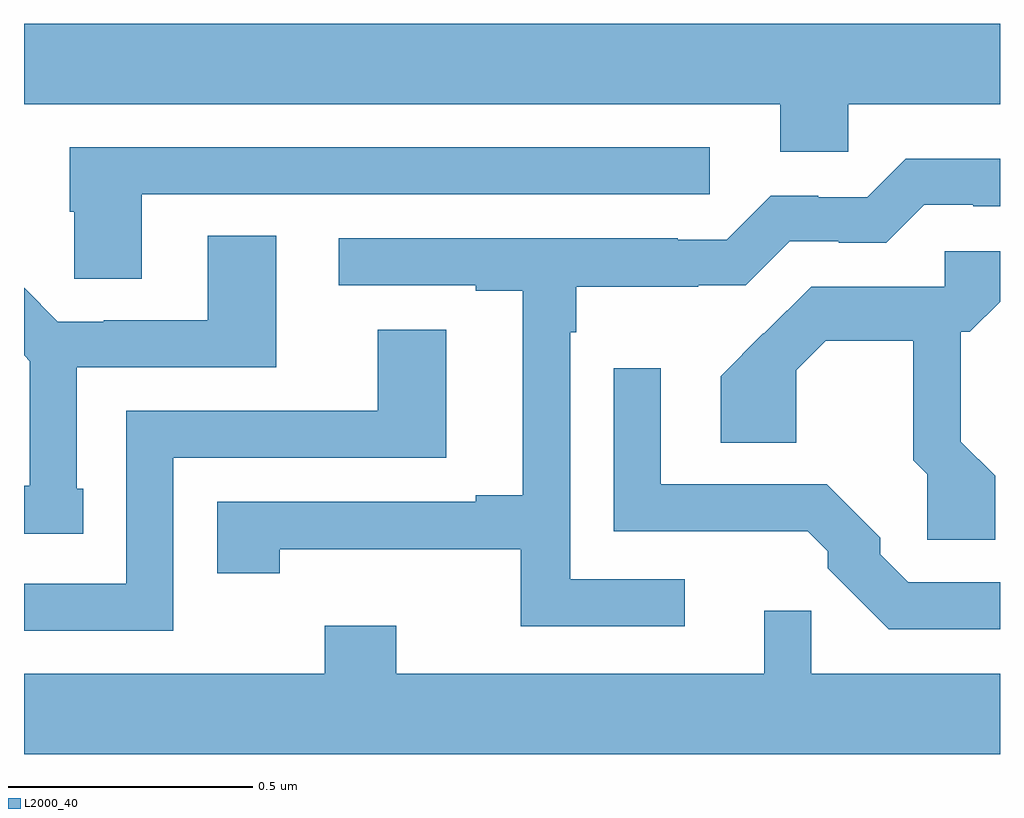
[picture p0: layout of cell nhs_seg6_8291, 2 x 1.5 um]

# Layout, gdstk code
import gdstk
lib = gdstk.Library(unit=1e-6, precision=1e-09)
def P(c, l, *ps):  # polygons
    for p in ps: c.add(gdstk.Polygon(p, *l))
L2000_40 = (2000, 40)

nhs_seg6_8291 = lib.new_cell('nhs_seg6_8291')
P(nhs_seg6_8291, L2000_40, [(219,953.996),(220.55,953.996),(220.55,953.898),(220.689,953.898),(220.689,953.996),(221,953.996),(221,954.16),(219,954.16)],
  [(219.241,953.811),(220.405,953.811),(220.405,953.907),(219.094,953.907),(219.094,953.775),(219.103,953.775),(219.103,953.638),(219.241,953.638)],
  [(220.354,953.022),(220.119,953.022),(220.119,953.528),(220.132,953.528),(220.132,953.622),(220.382,953.622),(220.382,953.625),(220.479,953.625),(220.569,953.715),(220.67,953.715),(220.67,953.712),(220.767,953.712),(220.845,953.79),(220.945,953.79),(220.945,953.787),(221,953.787),(221,953.884),(220.807,953.884),(220.728,953.805),(220.628,953.805),(220.628,953.808),(220.53,953.808),(220.44,953.718),(220.34,953.718),(220.34,953.721),(219.645,953.721),(219.645,953.625),(219.926,953.625),(219.926,953.613),(220.022,953.613),(220.022,953.194),(219.926,953.194),(219.926,953.181),(219.396,953.181),(219.396,953.034),(219.524,953.034),(219.524,953.084),(220.018,953.084),(220.018,952.926),(220.354,952.926)],
  [(219.121,953.208),(219.108,953.208),(219.108,953.457),(219.517,953.457),(219.517,953.726),(219.377,953.726),(219.377,953.553),(219.163,953.553),(219.163,953.55),(219.069,953.55),(219,953.619),(219,953.481),(219.012,953.469),(219.012,953.214),(219,953.214),(219,953.115),(219.121,953.115)],
  [(220.99,953.234),(220.92,953.304),(220.92,953.529),(220.938,953.529),(221,953.591),(221,953.694),(220.887,953.694),(220.887,953.622),(220.613,953.622),(220.516,953.525),(220.515,953.526),(220.428,953.438),(220.428,953.302),(220.582,953.302),(220.582,953.45),(220.643,953.511),(220.822,953.511),(220.822,953.266),(220.851,953.237),(220.851,953.103),(220.99,953.103)],
  [(219.306,953.271),(219.865,953.271),(219.865,953.533),(219.725,953.533),(219.725,953.367),(219.21,953.367),(219.21,953.013),(219,953.013),(219,952.917),(219.306,952.917)],
  [(221,953.016),(220.812,953.016),(220.755,953.073),(220.755,953.107),(220.645,953.217),(220.305,953.217),(220.305,953.455),(220.209,953.455),(220.209,953.121),(220.502,953.121),(220.502,953.12),(220.606,953.12),(220.647,953.08),(220.647,953.045),(220.772,952.92),(221,952.92)],
  [(221,952.828),(220.613,952.828),(220.613,952.958),(220.517,952.958),(220.517,952.828),(219.763,952.828),(219.763,952.927),(219.616,952.927),(219.616,952.828),(219,952.828),(219,952.664),(221,952.664)])

lib.write_gds('nhs_seg6_8291.gds')
